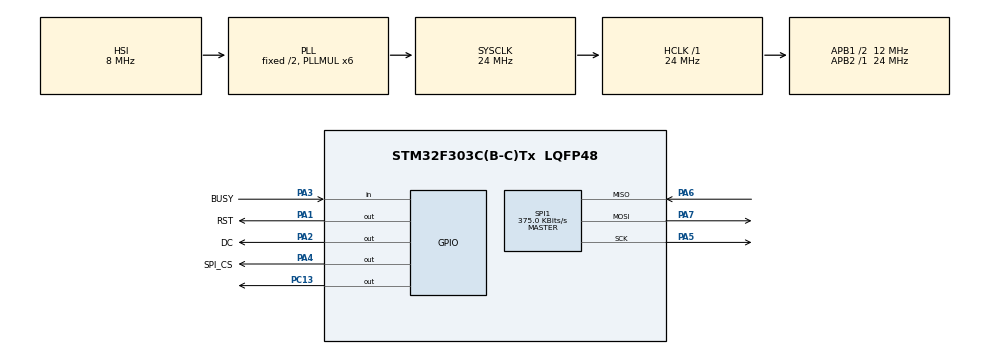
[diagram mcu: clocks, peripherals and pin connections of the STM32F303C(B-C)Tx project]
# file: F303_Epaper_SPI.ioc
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Mcu.Family=STM32F3
Mcu.Name=STM32F303C(B-C)Tx
Mcu.Package=LQFP48
NVIC.PriorityGroup=NVIC_PRIORITYGROUP_4
PA1.GPIO_Label=RST
PA1.Signal=GPIO_Output
PA13.Mode=Serial_Wire
PA13.Signal=SYS_JTMS-SWDIO
PA14.Mode=Serial_Wire
PA14.Signal=SYS_JTCK-SWCLK
PA2.GPIO_Label=DC
PA2.Signal=GPIO_Output
PA3.GPIO_Label=BUSY
PA3.Signal=GPIO_Input
PA4.GPIO_Label=SPI_CS
PA4.Signal=GPIO_Output
PA5.Mode=Full_Duplex_Master
PA5.Signal=SPI1_SCK
PA6.Mode=Full_Duplex_Master
PA6.Signal=SPI1_MISO
PA7.Mode=Full_Duplex_Master
PA7.Signal=SPI1_MOSI
PC13.Signal=GPIO_Output
PC14-OSC32_IN.Mode=LSE-External-Oscillator
PC14-OSC32_IN.Signal=RCC_OSC32_IN
PC15-OSC32_OUT.Mode=LSE-External-Oscillator
PC15-OSC32_OUT.Signal=RCC_OSC32_OUT
ProjectManager.HeapSize=0x200
ProjectManager.StackSize=0x400
ProjectManager.TargetToolchain=STM32CubeIDE
RCC.AHBFreq_Value=24000000
RCC.APB1CLKDivider=RCC_HCLK_DIV2
RCC.APB1Freq_Value=12000000
RCC.APB1TimFreq_Value=24000000
RCC.APB2Freq_Value=24000000
RCC.APB2TimFreq_Value=24000000
RCC.CortexFreq_Value=24000000
RCC.HCLKFreq_Value=24000000
RCC.HSE_VALUE=8000000
RCC.HSI_VALUE=8000000
RCC.PLLMUL=RCC_PLL_MUL6
RCC.SYSCLKFreq_VALUE=24000000
RCC.SYSCLKSourceVirtual=RCC_SYSCLKSOURCE_PLLCLK
RCC.USBFreq_Value=24000000
SPI1.BaudRatePrescaler=SPI_BAUDRATEPRESCALER_64
SPI1.CalculateBaudRate=375.0 KBits/s
SPI1.DataSize=SPI_DATASIZE_8BIT
SPI1.Direction=SPI_DIRECTION_2LINES
SPI1.Mode=SPI_MODE_MASTER
SPI1.VirtualType=VM_MASTER
board=custom

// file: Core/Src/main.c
/* USER CODE BEGIN Header */
/**
  ******************************************************************************
  * @file           : main.c
  * @brief          : Main program body
  ******************************************************************************
  * @attention
  *
  * Copyright (c) 2022 STMicroelectronics.
  * All rights reserved.
  *
  * This software is licensed under terms that can be found in the LICENSE file
  * in the root directory of this software component.
  * If no LICENSE file comes with this software, it is provided AS-IS.
  *
  ******************************************************************************
  */
/* USER CODE END Header */
#include "main.h"

/* USER CODE BEGIN Includes */
#include "BSP/epd2in9b.h"
#include "BSP/epdpaint.h"
#include "BSP/imagedata.h"

/* USER CODE END Includes */

/* USER CODE BEGIN PD */
#define COLORED      1
#define UNCOLORED    0

// Display resolution
#define EPD_WIDTH       128
#define EPD_HEIGHT      296
/* USER CODE END PD */

 SPI_HandleTypeDef hspi1;

void SystemClock_Config(void);
static void MX_GPIO_Init(void);
static void MX_SPI1_Init(void);

int main(void)
{

  /* MCU Configuration--------------------------------------------------------*/

  /* Reset of all peripherals, Initializes the Flash interface and the Systick. */
  HAL_Init();

  /* Configure the system clock */
  SystemClock_Config();

  /* Initialize all configured peripherals */
  MX_GPIO_Init();
  MX_SPI1_Init();
  /* USER CODE BEGIN 2 */

	/* Pins used by the Epaper display */
	epd_pin_t* epd_pin_cs = epd_pin_new(GPIOA, GPIO_PIN_4);
	epd_pin_t* epd_pin_rst = epd_pin_new(GPIOA, GPIO_PIN_1);
	epd_pin_t* epd_pin_dc = epd_pin_new(GPIOA, GPIO_PIN_2);
	epd_pin_t* epd_pin_busy = epd_pin_new(GPIOA, GPIO_PIN_3);

	/* Epaper display handle struct*/
	epd_handle_t* epd_handle_1 = epd_handle_new(&hspi1, epd_pin_cs, epd_pin_rst, epd_pin_dc, epd_pin_busy, EPD_WIDTH, EPD_HEIGHT);

	if (EPD_Init(epd_handle_1) != 0) {
		return -1;
	}

	/* Frame buffer paint struct */
	paint_t* paint_black = paint_new(EPD_WIDTH, EPD_HEIGHT);
	paint_t* paint_red = paint_new(EPD_WIDTH, EPD_HEIGHT);
	Paint_Clear(paint_black, UNCOLORED);
	Paint_Clear(paint_red, UNCOLORED);

	/* Draw something to the frame buffer */
	/* For simplicity, the arguments are explicit numerical coordinates */
	//      Paint_SetRotate(&paint_black, ROTATE_0);
	//      Paint_SetRotate(&paint_red, ROTATE_0);
	//      Paint_DrawRectangle(&paint_black, 10, 80, 50, 140, COLORED);
	//      Paint_DrawLine(&paint_black, 10, 80, 50, 140, COLORED);
	//      Paint_DrawLine(&paint_black, 50, 80, 10, 140, COLORED);
	//      Paint_DrawCircle(&paint_black, 90, 110, 30, COLORED);
	//      Paint_DrawFilledRectangle(&paint_red, 10, 180, 50, 240, COLORED);
	//      Paint_DrawFilledRectangle(&paint_red, 0, 6, 128, 26, COLORED);
	//      Paint_DrawFilledCircle(&paint_red, 90, 210, 30, COLORED);

	/*Write strings to the buffer */
	Paint_DrawStringAt(paint_black, 22, 30, "Hornet", &Font20, COLORED);;
	Paint_DrawStringAt(paint_red, 6, 10, "Hello world!", &Font12, UNCOLORED);

	/* Merge the frame buffer with the image */
	for (int i = 0; i < epd_handle_1->width * epd_handle_1->height / 8; i++) {
		uint8_t pixel_byte = paint_black->frame_buffer[i] & IMAGE_BLACK[i];
		paint_black->frame_buffer[i] = pixel_byte;
	}

	/* Display the image buffer */
	EPD_DisplayFrame(epd_handle_1, paint_black->frame_buffer, IMAGE_RED);

/* USER CODE END 2 */

/* Infinite loop */
/* USER CODE BEGIN WHILE */
while (1)
{
	  HAL_GPIO_TogglePin(GPIOC, GPIO_PIN_13);
	  HAL_Delay(500);
    /* USER CODE END WHILE */

  }
}

void SystemClock_Config(void)
{
  RCC_OscInitTypeDef RCC_OscInitStruct = {0};
  RCC_ClkInitTypeDef RCC_ClkInitStruct = {0};

  /** Initializes the RCC Oscillators according to the specified parameters
  * in the RCC_OscInitTypeDef structure.
  */
  RCC_OscInitStruct.OscillatorType = RCC_OSCILLATORTYPE_HSI;
  RCC_OscInitStruct.HSIState = RCC_HSI_ON;
  RCC_OscInitStruct.HSICalibrationValue = RCC_HSICALIBRATION_DEFAULT;
  RCC_OscInitStruct.PLL.PLLState = RCC_PLL_ON;
  RCC_OscInitStruct.PLL.PLLSource = RCC_PLLSOURCE_HSI;
  RCC_OscInitStruct.PLL.PLLMUL = RCC_PLL_MUL6;
  if (HAL_RCC_OscConfig(&RCC_OscInitStruct) != HAL_OK)
  {
    Error_Handler();
  }

  /** Initializes the CPU, AHB and APB buses clocks
  */
  RCC_ClkInitStruct.ClockType = RCC_CLOCKTYPE_HCLK|RCC_CLOCKTYPE_SYSCLK
                              |RCC_CLOCKTYPE_PCLK1|RCC_CLOCKTYPE_PCLK2;
  RCC_ClkInitStruct.SYSCLKSource = RCC_SYSCLKSOURCE_PLLCLK;
  RCC_ClkInitStruct.AHBCLKDivider = RCC_SYSCLK_DIV1;
  RCC_ClkInitStruct.APB1CLKDivider = RCC_HCLK_DIV2;
  RCC_ClkInitStruct.APB2CLKDivider = RCC_HCLK_DIV1;

  if (HAL_RCC_ClockConfig(&RCC_ClkInitStruct, FLASH_LATENCY_0) != HAL_OK)
  {
    Error_Handler();
  }
}

static void MX_SPI1_Init(void)
{

  /* SPI1 parameter configuration*/
  hspi1.Instance = SPI1;
  hspi1.Init.Mode = SPI_MODE_MASTER;
  hspi1.Init.Direction = SPI_DIRECTION_2LINES;
  hspi1.Init.DataSize = SPI_DATASIZE_8BIT;
  hspi1.Init.CLKPolarity = SPI_POLARITY_LOW;
  hspi1.Init.CLKPhase = SPI_PHASE_1EDGE;
  hspi1.Init.NSS = SPI_NSS_SOFT;
  hspi1.Init.BaudRatePrescaler = SPI_BAUDRATEPRESCALER_64;
  hspi1.Init.FirstBit = SPI_FIRSTBIT_MSB;
  hspi1.Init.TIMode = SPI_TIMODE_DISABLE;
  hspi1.Init.CRCCalculation = SPI_CRCCALCULATION_DISABLE;
  hspi1.Init.CRCPolynomial = 7;
  hspi1.Init.CRCLength = SPI_CRC_LENGTH_DATASIZE;
  hspi1.Init.NSSPMode = SPI_NSS_PULSE_ENABLE;
  if (HAL_SPI_Init(&hspi1) != HAL_OK)
  {
    Error_Handler();
  }

}

static void MX_GPIO_Init(void)
{
  GPIO_InitTypeDef GPIO_InitStruct = {0};

  /* GPIO Ports Clock Enable */
  __HAL_RCC_GPIOC_CLK_ENABLE();
  __HAL_RCC_GPIOA_CLK_ENABLE();

  /*Configure GPIO pin Output Level */
  HAL_GPIO_WritePin(GPIOC, GPIO_PIN_13, GPIO_PIN_RESET);

  /*Configure GPIO pin Output Level */
  HAL_GPIO_WritePin(GPIOA, RST_Pin|DC_Pin|SPI_CS_Pin, GPIO_PIN_RESET);

  /*Configure GPIO pin : PC13 */
  GPIO_InitStruct.Pin = GPIO_PIN_13;
  GPIO_InitStruct.Mode = GPIO_MODE_OUTPUT_PP;
  GPIO_InitStruct.Pull = GPIO_NOPULL;
  GPIO_InitStruct.Speed = GPIO_SPEED_FREQ_LOW;
  HAL_GPIO_Init(GPIOC, &GPIO_InitStruct);

  /*Configure GPIO pins : RST_Pin DC_Pin SPI_CS_Pin */
  GPIO_InitStruct.Pin = RST_Pin|DC_Pin|SPI_CS_Pin;
  GPIO_InitStruct.Mode = GPIO_MODE_OUTPUT_PP;
  GPIO_InitStruct.Pull = GPIO_NOPULL;
  GPIO_InitStruct.Speed = GPIO_SPEED_FREQ_LOW;
  HAL_GPIO_Init(GPIOA, &GPIO_InitStruct);

  /*Configure GPIO pin : BUSY_Pin */
  GPIO_InitStruct.Pin = BUSY_Pin;
  GPIO_InitStruct.Mode = GPIO_MODE_INPUT;
  GPIO_InitStruct.Pull = GPIO_NOPULL;
  HAL_GPIO_Init(BUSY_GPIO_Port, &GPIO_InitStruct);

}

void Error_Handler(void)
{
  __disable_irq();
  while (1)
  {
  }
}
